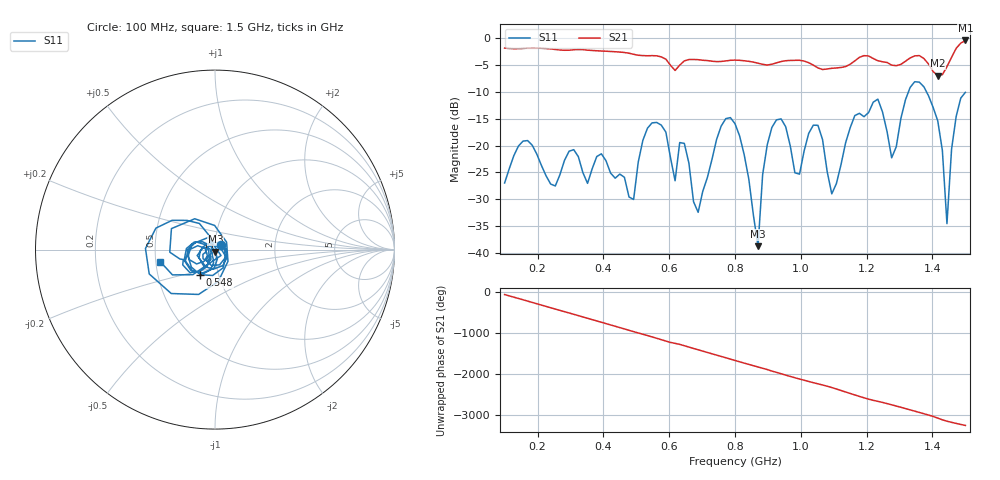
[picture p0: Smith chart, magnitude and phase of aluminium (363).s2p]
! NanoVNA-App
! Date: 2025-09-25 14:58:06
! Start: 100MHz Stop: 1,5GHz Points: 101
! S-Parameter data: F S11 S21 S12 S22
# Hz S RI R 50
!  Frequency  S11_Real  S11_Imag  S21_Real  S21_Imag  S12_Real  S12_Imag  S22_Real  S22_Imag
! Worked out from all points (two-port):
!   101 points, 100 MHz to 1.5 GHz, reference 50 ohm
!   highest |S21| = -0.50 dB at 1.5 GHz (marker M1); lowest = -7.0 dB at 1.416 GHz (marker M2)
!   |S21| within 3 dB of the highest: start of sweep to 572.7 MHz; 1.459 GHz to end of sweep (the widest 2 of 4)
!   lowest |S11| = -38.7 dB at 870 MHz (marker M3), VSWR 1.02, Z = 50.3 - j1.14 ohm
!   |S11| at or under -10 dB: start of sweep to 1.327 GHz; 1.381 GHz to end of sweep
!   S12 and S22 are empty: the file has one direction only
!   S11 on the Smith chart (normalised r, x): 100 MHz: 1.07, +0.06; 548 MHz: 0.82, -0.24; 1.5 GHz: 0.53, -0.08
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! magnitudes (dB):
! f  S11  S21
! 100 MHz  -27.0  -1.9
! 156 MHz  -19.2  -2.0
! 338 MHz  -25.1  -2.2
! 492 MHz  -30.0  -3.1
! 548 MHz  -15.8  -3.3
! 576 MHz  -16.2  -3.5
! 618 MHz  -26.5  -6.1
! 646 MHz  -19.6  -4.3
! 688 MHz  -32.4  -4.1
! 800 MHz  -15.9  -4.1
! 870 MHz  -38.7  -4.7
! 912 MHz  -16.6  -4.9
! 996 MHz  -25.3  -4.2
! 1.038 GHz  -16.2  -5.1
! 1.094 GHz  -29.0  -5.7
! 1.234 GHz  -11.4  -4.3
! 1.276 GHz  -22.3  -5.1
! 1.346 GHz  -8.2  -3.4
! 1.416 GHz  -15.4  -7.0
! 1.444 GHz  -34.5  -5.4
! 1.458 GHz  -20.7  -3.6
! 1.5 GHz  -10.1  -0.5
